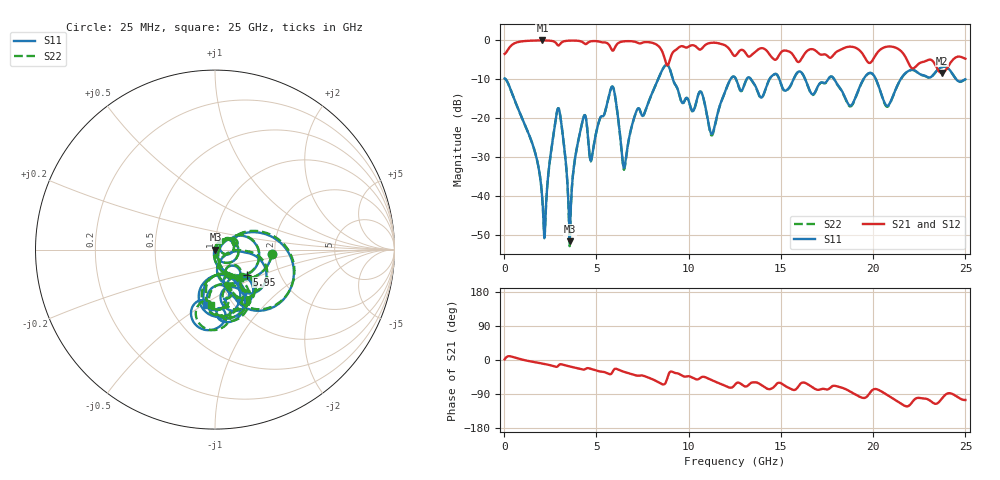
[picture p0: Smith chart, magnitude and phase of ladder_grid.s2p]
! R_s4_rect_n0: kisi's ladder with the plane pair as a finite cavity (grid) (Finite board 24 × 16 mm, via L1 → L4 through the L2/L3 cavity, no return via)
# Hz S RI R 50
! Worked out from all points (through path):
!   1000 points, 25 MHz to 25 GHz, reference 50 ohm
!   highest |S21| = -0.21 dB at 2.075 GHz (marker M1); lowest = -8.6 dB at 23.73 GHz (marker M2)
!   group delay of S21, straight-line fit = 12.2 ps
!   lowest |S11| = -51.7 dB at 3.55 GHz (marker M3), VSWR 1.01, Z = 50.3 - j0.0522 ohm
!   |S11| at or under -10 dB: 43.44 MHz to 8.358 GHz (8.315 GHz wide, 198 % of centre); 9.138 GHz to 12.29 GHz (3.148 GHz wide, 29.4 % of centre); 17.87 GHz to 19.49 GHz (1.62 GHz wide, 8.67 % of centre)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
!   |S22| runs from -52.9 to -6.5 dB; largest |S21 - S12| = 1e-11
!   S11 on the Smith chart (normalised r, x): 25 MHz: 1.93, -0.10; 5.95 GHz: 1.37, -0.40; 25 GHz: 0.76, -0.52
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2.5e7  0.317 -0.0224  0.656 0.0204  0.656 0.0204  0.317 -0.0224
1.625e9  -0.00466 -0.0392  0.9687 -0.0923  0.9687 -0.0923  -0.0045 -0.0392
2.075e9  -0.00443 -0.00744  0.963 -0.1603  0.963 -0.1603  -0.0045 -0.00744
2.225e9  -0.00176 0.00388  0.9582 -0.1836  0.9582 -0.1836  -0.00193 0.00391
2.925e9  0.1319 -0.0091  0.8118 -0.2265  0.8118 -0.2265  0.1318 -0.00766
3.55e9  0.00255 -0.000519  0.9286 -0.2833  0.9286 -0.2833  0.00223 -0.000364
4.2e9  0.0565 0.0575  0.858 -0.3921  0.858 -0.3921  0.0552 0.0585
4.725e9  0.0267 0.011  0.8726 -0.3843  0.8726 -0.3843  0.026 0.0117
5.95e9  0.1792 -0.1396  0.6734 -0.3195  0.6734 -0.3195  0.1814 -0.1355
6.525e9  0.0232 -0.00155  0.8119 -0.5002  0.8119 -0.5002  0.0223 -0.000427
8.35e9  0.3031 0.0779  0.4377 -0.7094  0.4377 -0.7094  0.3 0.0879
8.975e9  0.2498 -0.341  0.4593 -0.2897  0.4593 -0.2897  0.2593 -0.3324
1.02e10  0.0667 -0.1021  0.584 -0.6157  0.584 -0.6157  0.0687 -0.0982
1.07e10  0.0815 -0.1935  0.5392 -0.5411  0.5392 -0.5411  0.0871 -0.1889
1.125e10  0.043 -0.0441  0.5487 -0.7287  0.5487 -0.7287  0.0431 -0.0404
1.2525e10  0.2175 -0.2417  0.2702 -0.5575  0.2702 -0.5575  0.2265 -0.2306
1.6675e10  0.00539 -0.201  0.2452 -0.7151  0.2452 -0.7151  0.0151 -0.1974
1.88e10  0.0275 -0.1408  0.0792 -0.8088  0.0792 -0.8088  0.0353 -0.1354
1.985e10  0.0279 -0.3748  0.0431 -0.5043  0.0431 -0.5043  0.051 -0.3699
2.085e10  0.0441 -0.1391  -0.0697 -0.8148  -0.0697 -0.8148  0.0531 -0.1325
2.3725e10  -0.00755 -0.4449  -0.0772 -0.3648  -0.0772 -0.3648  0.0252 -0.4423
2.5e10  -0.0475 -0.3072  -0.1524 -0.5487  -0.1524 -0.5487  -0.0236 -0.3078
